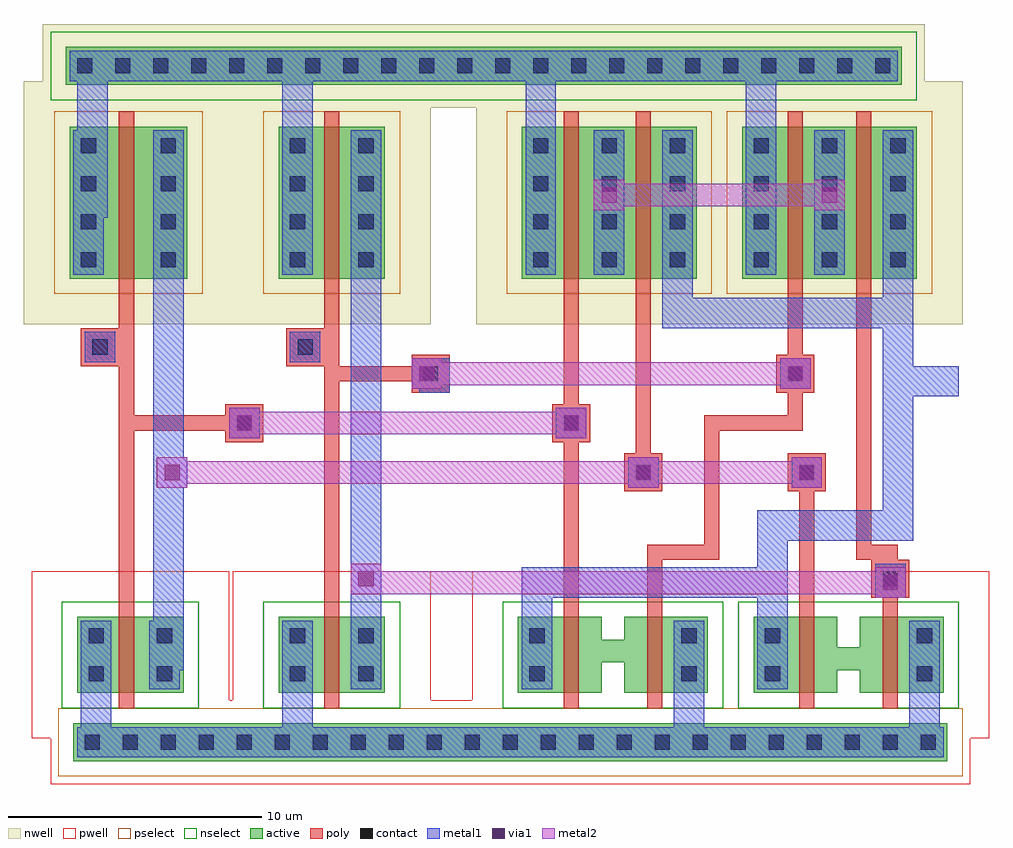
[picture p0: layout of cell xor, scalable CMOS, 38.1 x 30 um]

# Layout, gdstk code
import gdstk
lib = gdstk.Library(unit=1e-6, precision=1e-09)
def R(c, l, rs):  # rectangles x0, y0, x1, y1
    for r in rs: c.add(gdstk.rectangle(r[:2], r[2:], *l))
def A(c, l, x, y, w, h, nx, ny, dx, dy):  # array of equal rectangles
    R(c, l, [(x+i*dx, y+j*dy, x+i*dx+w, y+j*dy+h) for i in range(nx) for j in range(ny)])
contact = (25, 0)
pwell = (41, 0)
nwell = (42, 0)
active = (43, 0)
pselect = (44, 0)
nselect = (45, 0)
poly = (46, 0)
metal1 = (49, 0)
via1 = (50, 0)
metal2 = (51, 0)

xor = lib.new_cell('xor')
A(xor, contact, -5.1, 1.35, 0.6, 0.6, 23, 1, 1.5, 0)
A(xor, contact, -5.25, 20.4, 0.6, 0.6, 1, 4, 0, 1.5)
A(xor, contact, -2.1, 20.4, 0.6, 0.6, 1, 4, 0, 1.5)
A(xor, contact, 3, 20.4, 0.6, 0.6, 1, 4, 0, 1.5)
A(xor, contact, 5.7, 20.4, 0.6, 0.6, 1, 4, 0, 1.5)
A(xor, contact, 12.6, 20.4, 0.6, 0.6, 3, 4, 2.7, 1.5)
A(xor, contact, 21.3, 20.4, 0.6, 0.6, 3, 4, 2.7, 1.5)
A(xor, contact, -5.4, 28.05, 0.6, 0.6, 22, 1, 1.5, 0)
R(xor, contact, [(-4.95,4.05,-4.35,4.65), (-2.25,4.05,-1.65,4.65), (3,4.05,3.6,4.65), (5.7,4.05,6.3,4.65), (12.45,4.05,13.05,4.65), (18.45,4.05,19.05,4.65), (21.75,4.05,22.35,4.65), (27.75,4.05,28.35,4.65), (-4.95,5.55,-4.35,6.15), (-2.25,5.55,-1.65,6.15), (3,5.55,3.6,6.15), (5.7,5.55,6.3,6.15), (12.45,5.55,13.05,6.15), (18.45,5.55,19.05,6.15), (21.75,5.55,22.35,6.15), (27.75,5.55,28.35,6.15), (26.4,7.8,27,8.4), (16.65,12,17.25,12.6), (23.1,12,23.7,12.6), (0.9,13.95,1.5,14.55), (13.8,13.95,14.4,14.55), (8.25,15.9,8.85,16.5), (22.65,15.9,23.25,16.5), (-4.8,16.95,-4.2,17.55), (3.3,16.95,3.9,17.55)])
R(xor, pwell, [(-6.45,0,29.85,3.3), (-7.2,1.8,-2.1,8.4), (-6.45,1.8,-0.45,8.4), (-4.5,1.8,0.6,8.4), (0.75,1.8,5.85,8.4), (1.65,1.8,7.65,8.4), (3.45,1.8,8.55,8.4), (10.2,1.8,15.3,8.4), (11.1,1.8,17.1,8.4), (14.4,1.8,20.4,8.4), (16.2,1.8,21.3,8.4), (19.5,1.8,24.6,8.4), (20.4,1.8,26.4,8.4), (23.7,1.8,29.7,8.4), (25.5,1.8,30.6,8.4), (22.275,2.7,27.825,7.2), (-6.9,2.85,-2.325,7.35), (-4.575,2.85,0.3,7.35), (1.05,2.85,5.775,7.35), (3.525,2.85,8.25,7.35), (10.35,2.85,15.225,7.35), (12.975,3,18.525,7.5), (16.275,3,21.15,7.5), (19.65,3.15,24.525,7.65), (25.575,3.3,30.45,7.8)])
A(xor, nwell, 10.35, 18.15, 5.1, 9.6, 3, 1, 2.7, 0)
A(xor, nwell, 19.05, 18.15, 5.1, 9.6, 3, 1, 2.7, 0)
R(xor, nwell, [(-7.5,18.15,-2.4,27.75), (-6.45,18.15,-0.45,27.75), (-4.35,18.15,0.75,27.75), (0.75,18.15,5.85,27.75), (1.65,18.15,7.65,27.75), (3.45,18.15,8.55,27.75), (11.1,18.15,17.1,27.75), (13.95,18.15,19.95,27.75), (19.95,18.15,25.95,27.75), (22.65,18.15,28.65,27.75), (10.65,19.8,15.225,24.3), (12.975,19.8,18,24.3), (-7.05,21.3,-2.325,25.8), (-4.575,21.3,0.45,25.8), (1.05,21.3,5.775,25.8), (3.525,21.3,8.25,25.8), (13.35,22.2,18.075,26.7), (15.825,22.2,20.7,26.7), (19.35,22.2,24.075,26.7), (21.825,22.2,26.7,26.7), (22.05,22.2,26.775,26.7), (24.525,22.2,29.4,26.7), (-6.75,26.7,28.05,30)])
A(xor, active, 12.15, 19.95, 1.5, 6, 3, 1, 2.7, 0)
A(xor, active, 20.85, 19.95, 1.5, 6, 3, 1, 2.7, 0)
R(xor, active, [(-5.55,0.9,28.95,2.4), (-5.4,3.6,-3.9,6.6), (-4.65,3.6,-2.25,6.6), (-2.7,3.6,-1.2,6.6), (2.55,3.6,4.05,6.6), (3.45,3.6,5.85,6.6), (5.25,3.6,6.75,6.6), (12,3.6,13.5,6.6), (12.9,3.6,15.3,6.6), (16.2,3.6,18.6,6.6), (18,3.6,19.5,6.6), (21.3,3.6,22.8,6.6), (22.2,3.6,24.6,6.6), (25.5,3.6,27.9,6.6), (27.3,3.6,28.8,6.6), (24.075,4.5,26.025,5.4), (-5.1,4.65,-4.125,5.55), (-2.775,4.65,-1.5,5.55), (2.85,4.65,3.975,5.55), (5.325,4.65,6.45,5.55), (12.15,4.65,13.425,5.55), (14.775,4.8,16.725,5.7), (18.075,4.8,19.35,5.7), (21.45,4.95,22.725,5.85), (27.375,5.1,28.65,6), (-5.7,19.95,-4.2,25.95), (-4.65,19.95,-2.25,25.95), (-2.55,19.95,-1.05,25.95), (2.55,19.95,4.05,25.95), (3.45,19.95,5.85,25.95), (5.25,19.95,6.75,25.95), (12.9,19.95,15.3,25.95), (15.75,19.95,18.15,25.95), (21.75,19.95,24.15,25.95), (24.45,19.95,26.85,25.95), (12.45,21.6,13.425,22.5), (14.775,21.6,16.2,22.5), (-5.25,23.1,-4.125,24), (-2.775,23.1,-1.35,24), (2.85,23.1,3.975,24), (5.325,23.1,6.45,24), (15.15,24,16.275,24.9), (17.625,24,18.9,24.9), (21.15,24,22.275,24.9), (23.625,24,24.9,24.9), (23.85,24,24.975,24.9), (26.325,24,27.6,24.9), (-5.85,27.6,27.15,29.1)])
A(xor, pselect, 11.55, 19.35, 2.7, 7.2, 3, 1, 2.7, 0)
A(xor, pselect, 20.25, 19.35, 2.7, 7.2, 3, 1, 2.7, 0)
R(xor, pselect, [(-6.15,0.3,29.55,3), (-6.3,19.35,-3.6,26.55), (-5.25,19.35,-1.65,26.55), (-3.15,19.35,-0.45,26.55), (1.95,19.35,4.65,26.55), (2.85,19.35,6.45,26.55), (4.65,19.35,7.35,26.55), (12.3,19.35,15.9,26.55), (15.15,19.35,18.75,26.55), (21.15,19.35,24.75,26.55), (23.85,19.35,27.45,26.55), (11.85,21,14.025,23.1), (14.175,21,16.8,23.1), (-5.85,22.5,-3.525,24.6), (-3.375,22.5,-0.75,24.6), (2.25,22.5,4.575,24.6), (4.725,22.5,7.05,24.6), (14.55,23.4,16.875,25.5), (17.025,23.4,19.5,25.5), (20.55,23.4,22.875,25.5), (23.025,23.4,25.5,25.5), (23.25,23.4,25.575,25.5), (25.725,23.4,28.2,25.5)])
R(xor, nselect, [(-6,3,-3.3,7.2), (-5.25,3,-1.65,7.2), (-3.3,3,-0.6,7.2), (1.95,3,4.65,7.2), (2.85,3,6.45,7.2), (4.65,3,7.35,7.2), (11.4,3,14.1,7.2), (12.3,3,15.9,7.2), (15.6,3,19.2,7.2), (17.4,3,20.1,7.2), (20.7,3,23.4,7.2), (21.6,3,25.2,7.2), (24.9,3,28.5,7.2), (26.7,3,29.4,7.2), (23.475,3.9,26.625,6), (-5.7,4.05,-3.525,6.15), (-3.375,4.05,-0.9,6.15), (2.25,4.05,4.575,6.15), (4.725,4.05,7.05,6.15), (11.55,4.05,14.025,6.15), (14.175,4.2,17.325,6.3), (17.475,4.2,19.95,6.3), (20.85,4.35,23.325,6.45), (26.775,4.5,29.25,6.6), (-6.45,27,27.75,29.7)])
R(xor, poly, [(-3.75,3,-3.15,7.2), (4.35,3,4.95,7.2), (13.8,3,14.4,7.2), (17.1,3,17.7,7.2), (23.1,3,23.7,7.2), (26.4,3,27,7.2), (-3.75,6.9,-3.15,14.55), (4.35,6.9,4.95,7.5), (4.35,6.9,4.95,16.5), (13.8,6.9,14.4,14.55), (17.1,6.9,17.7,9.45), (23.1,6.9,23.7,12.6), (26.4,6.9,27,8.25), (25.95,7.35,27.45,8.85), (26.4,7.65,27,9.45), (17.1,8.85,19.95,9.45), (19.35,8.85,19.95,14.55), (25.35,8.85,27,9.45), (25.35,8.85,25.95,12.45), (16.2,11.55,17.7,13.05), (22.65,11.55,24.15,13.05), (25.35,11.85,25.95,19.65), (16.65,12,17.25,13.95), (16.65,13.35,17.25,19.65), (0.45,13.5,1.95,15), (13.35,13.5,14.85,15), (-3.75,13.95,-3.15,17.55), (-3.75,13.95,1.5,14.55), (13.8,13.95,14.4,19.65), (19.35,13.95,23.25,14.55), (22.65,13.95,23.25,16.5), (7.8,15.45,9.3,16.95), (22.2,15.45,23.7,16.95), (4.35,15.9,8.7,16.5), (4.35,15.9,4.95,17.55), (22.65,15.9,23.25,19.65), (-5.25,16.5,-3.75,18), (2.85,16.5,4.35,18), (-4.95,16.95,-3.15,17.55), (-3.75,16.95,-3.15,19.65), (3.15,16.95,4.95,17.55), (4.35,16.95,4.95,19.65), (-3.75,19.35,-3.15,26.55), (4.35,19.35,4.95,26.55), (13.8,19.35,14.4,26.55), (16.65,19.35,17.25,26.55), (22.65,19.35,23.25,26.55), (25.35,19.35,25.95,26.55)])
A(xor, metal1, 12.3, 20.1, 1.2, 5.7, 3, 1, 2.7, 0)
A(xor, metal1, 21, 20.1, 1.2, 5.7, 3, 1, 2.7, 0)
R(xor, metal1, [(-5.4,1.05,28.8,2.25), (-5.25,1.2,-4.05,5.7), (2.7,1.2,3.9,5.7), (18.15,1.2,19.35,5.7), (27.45,1.2,28.65,5.7), (-5.25,3.75,-4.05,6.45), (-2.55,3.75,-1.35,6.45), (2.7,3.75,3.9,6.45), (5.4,3.75,6.6,6.45), (12.15,3.75,13.35,6.45), (18.15,3.75,19.35,6.45), (21.45,3.75,22.65,6.45), (27.45,3.75,28.65,6.45), (-2.4,4.5,-1.2,12.9), (5.4,4.5,6.6,8.55), (12.15,4.5,13.35,8.55), (21.45,4.5,22.65,8.55), (12.15,7.35,22.65,8.55), (21.45,7.35,22.65,10.8), (26.1,7.35,27.3,8.55), (5.4,7.5,6.6,8.7), (5.4,7.5,6.6,23.55), (26.1,7.5,27.3,8.7), (26.25,7.65,27.15,8.55), (21.45,9.6,27.6,10.8), (26.4,9.6,27.6,16.5), (-2.4,11.7,-1.2,23.55), (-2.25,11.7,-1.05,12.9), (16.35,11.7,17.55,12.9), (16.35,11.7,17.55,12.9), (22.8,11.7,24,12.9), (22.8,11.7,24,12.9), (16.5,11.85,17.4,12.75), (22.95,11.85,23.85,12.75), (0.6,13.65,1.8,14.85), (0.6,13.65,1.8,14.85), (0.6,13.65,1.8,14.85), (13.5,13.65,14.7,14.85), (13.5,13.65,14.7,14.85), (0.75,13.8,1.65,14.7), (0.75,13.8,1.65,14.7), (13.65,13.8,14.55,14.7), (26.4,15.3,27.6,19.2), (26.4,15.3,29.4,16.5), (8.1,15.45,9.3,16.8), (7.8,15.6,9,16.8), (7.95,15.6,9.15,16.8), (22.35,15.6,23.55,16.8), (22.35,15.6,23.55,16.8), (22.35,15.6,23.55,16.8), (22.5,15.75,23.4,16.65), (22.5,15.75,23.4,16.65), (-5.1,16.65,-3.9,17.85), (3,16.65,4.2,17.85), (17.7,18,18.9,22.65), (17.7,18,19.35,19.2), (18.15,18,27.6,19.2), (26.4,18,27.6,22.65), (-5.55,20.1,-4.35,25.8), (-2.4,20.1,-1.2,25.8), (2.7,20.1,3.9,25.8), (5.4,20.1,6.6,25.8), (-5.4,22.35,-4.2,28.8), (2.7,22.35,3.9,28.8), (12.3,22.35,13.5,28.8), (21,22.35,22.2,28.8), (15,22.65,16.2,23.85), (15,22.65,16.2,25.05), (23.7,22.65,24.9,23.85), (23.7,22.65,24.9,25.05), (-5.7,27.75,27,28.95)])
R(xor, via1, [(26.4,7.65,27,8.25), (5.7,7.8,6.3,8.4), (-1.95,12,-1.35,12.6), (16.65,12,17.25,12.6), (23.1,12,23.7,12.6), (0.9,13.95,1.5,14.55), (0.9,13.95,1.5,14.55), (13.8,13.95,14.4,14.55), (8.1,15.9,8.7,16.5), (22.65,15.9,23.25,16.5), (22.65,15.9,23.25,16.5), (15.3,22.95,15.9,23.55), (24,22.95,24.6,23.55)])
R(xor, metal2, [(26.1,7.35,27.3,8.55), (5.4,7.5,6.6,8.7), (5.7,7.5,23.25,8.4), (22.35,7.5,27.15,8.4), (-2.25,11.7,-1.05,12.9), (16.35,11.7,17.55,12.9), (22.8,11.7,24,12.9), (-2.1,11.85,9.75,12.75), (8.85,11.85,17.4,12.75), (16.5,11.85,22.2,12.75), (21.3,11.85,23.85,12.75), (0.6,13.65,1.8,14.85), (0.6,13.65,1.8,14.85), (13.5,13.65,14.7,14.85), (0.75,13.8,10.65,14.7), (9.75,13.8,14.55,14.7), (7.8,15.6,9,16.8), (22.35,15.6,23.55,16.8), (22.35,15.6,23.55,16.8), (7.8,15.75,13.65,16.65), (12.75,15.75,23.4,16.65), (15,22.65,16.2,23.85), (23.7,22.65,24.9,23.85), (15.15,22.8,18.6,23.7), (17.7,22.8,24.75,23.7)])

lib.write_gds('xor.gds')
